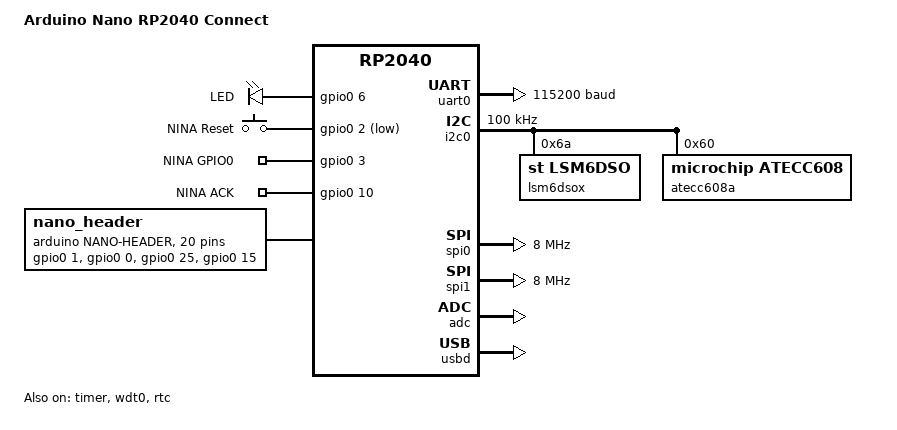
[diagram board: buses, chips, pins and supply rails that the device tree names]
/*
 * Copyright (c) 2026 ARDUINO SRL
 *
 * SPDX-License-Identifier: Apache-2.0
 */

/dts-v1/;

#include <freq.h>
#include <raspberrypi/rpi_pico/rp2040.dtsi>
#include "arduino_nano_rp2040_connect-pinctrl.dtsi"
#include <zephyr/dt-bindings/pwm/pwm.h>
#include <zephyr/dt-bindings/i2c/i2c.h>
#include <zephyr/dt-bindings/gpio/arduino-nano-header.h>

/ {
	model = "Arduino Nano RP2040 Connect";
	compatible = "arduino,nano-rp2040-connect";

	chosen {
		zephyr,sram = &sram0;
		zephyr,flash = &flash0;
		zephyr,flash-controller = &ssi;
		zephyr,console = &uart0;
		zephyr,shell-uart = &uart0;
		zephyr,code-partition = &code_partition;
	};

	aliases {
		led0 = &led0;
		rtc = &rtc;
		watchdog0 = &wdt0;
	};

	leds {
		compatible = "gpio-leds";
		led0: led_0 {
			/* Built-in LED on GPIO6 (accent LED, directly connected) */
			gpios = <&gpio0 6 GPIO_ACTIVE_HIGH>;
			label = "LED";
		};
	};

	/* NINA module control pins */
	nina_gpios {
		compatible = "gpio-keys";
		nina_reset: nina_reset {
			gpios = <&gpio0 2 GPIO_ACTIVE_LOW>;
			label = "NINA Reset";
		};
		nina_gpio0: nina_gpio0 {
			gpios = <&gpio0 3 GPIO_ACTIVE_HIGH>;
			label = "NINA GPIO0";
		};
		nina_ack: nina_ack {
			gpios = <&gpio0 10 GPIO_ACTIVE_HIGH>;
			label = "NINA ACK";
		};
	};

	/* Arduino Nano connector */
	nano_header: connector {
		compatible = "arduino,nano-header";
		#gpio-cells = <2>;
		gpio-map-mask = <0xffffffff 0xffffffc0>;
		gpio-map-pass-thru = <0 0x3f>;
		gpio-map = <ARDUINO_NANO_HEADER_D0 0 &gpio0 1 0>,    /* D0 - RX */
			<ARDUINO_NANO_HEADER_D1 0 &gpio0 0 0>,       /* D1 - TX */
			<ARDUINO_NANO_HEADER_D2 0 &gpio0 25 0>,      /* D2 */
			<ARDUINO_NANO_HEADER_D3 0 &gpio0 15 0>,      /* D3 */
			<ARDUINO_NANO_HEADER_D4 0 &gpio0 16 0>,      /* D4 */
			<ARDUINO_NANO_HEADER_D5 0 &gpio0 17 0>,      /* D5 */
			<ARDUINO_NANO_HEADER_D6 0 &gpio0 18 0>,      /* D6 */
			<ARDUINO_NANO_HEADER_D7 0 &gpio0 19 0>,      /* D7 */
			<ARDUINO_NANO_HEADER_D8 0 &gpio0 20 0>,      /* D8 */
			<ARDUINO_NANO_HEADER_D9 0 &gpio0 21 0>,      /* D9 */
			<ARDUINO_NANO_HEADER_D10 0 &gpio0 5 0>,      /* D10 - SS */
			<ARDUINO_NANO_HEADER_D11 0 &gpio0 7 0>,      /* D11 - MOSI */
			<ARDUINO_NANO_HEADER_D12 0 &gpio0 4 0>,      /* D12 - MISO */
			<ARDUINO_NANO_HEADER_D13 0 &gpio0 6 0>,      /* D13 - SCK/LED */
			<ARDUINO_NANO_HEADER_D14 0 &gpio0 26 0>,     /* A0 */
			<ARDUINO_NANO_HEADER_D15 0 &gpio0 27 0>,     /* A1 */
			<ARDUINO_NANO_HEADER_D16 0 &gpio0 28 0>,     /* A2 */
			<ARDUINO_NANO_HEADER_D17 0 &gpio0 29 0>,     /* A3 */
			<ARDUINO_NANO_HEADER_D18 0 &gpio0 12 0>,     /* A4 - SDA */
			<ARDUINO_NANO_HEADER_D19 0 &gpio0 13 0>;     /* A5 - SCL */
	};
};

&flash0 {
	/* 16MB flash */
	reg = <0x10000000 DT_SIZE_M(16)>;

	partitions {
		compatible = "fixed-partitions";
		#address-cells = <1>;
		#size-cells = <1>;

		/* Reserved memory for the second stage bootloader */
		second_stage_bootloader: partition@0 {
			label = "second_stage_bootloader";
			reg = <0x00000000 0x100>;
			read-only;
		};

		/*
		 * Usable flash. Starts at 0x100, after the bootloader. The partition
		 * size is 16MB minus the 0x100 bytes taken by the bootloader.
		 */
		code_partition: partition@100 {
			label = "code-partition";
			reg = <0x100 (DT_SIZE_M(16) - 0x100)>;
			read-only;
		};
	};
};

&uart0 {
	current-speed = <115200>;
	status = "okay";
	pinctrl-0 = <&uart0_default>;
	pinctrl-names = "default";
};

&gpio0 {
	status = "okay";
};

&i2c0 {
	clock-frequency = <I2C_BITRATE_STANDARD>;
	status = "okay";
	pinctrl-0 = <&i2c0_default>;
	pinctrl-names = "default";

	/* LSM6DSOX IMU */
	lsm6dsox: lsm6dsox@6a {
		compatible = "st,lsm6dso";
		reg = <0x6a>;
	};

	/* ATECC608A Crypto */
	atecc608a: atecc608a@60 {
		compatible = "microchip,atecc608";
		reg = <0x60>;
	};
};

&spi0 {
	clock-frequency = <DT_FREQ_M(8)>;
	status = "okay";
	pinctrl-0 = <&spi0_default>;
	pinctrl-names = "default";
};

&spi1 {
	/* SPI to NINA WiFi module */
	clock-frequency = <DT_FREQ_M(8)>;
	status = "okay";
	pinctrl-0 = <&spi1_default>;
	pinctrl-names = "default";
	cs-gpios = <&gpio0 9 GPIO_ACTIVE_LOW>;
};

&timer {
	status = "okay";
};

&wdt0 {
	status = "okay";
};

&rtc {
	clocks = <&clocks RPI_PICO_CLKID_CLK_RTC>;
	status = "okay";
};

&adc {
	status = "okay";
	pinctrl-0 = <&adc_default>;
	pinctrl-names = "default";
};

zephyr_udc0: &usbd {
	status = "okay";
};

&pwm {
	pinctrl-0 = <&pwm_ch3a_default>;
	pinctrl-names = "default";
};

&vreg {
	regulator-always-on;
	regulator-allowed-modes = <REGULATOR_RPI_PICO_MODE_NORMAL>;
};

/* Aliases for Arduino compatibility */
arduino_spi: &spi0 {};
arduino_i2c: &i2c0 {};
arduino_serial: &uart0 {};
nina_spi: &spi1 {};
